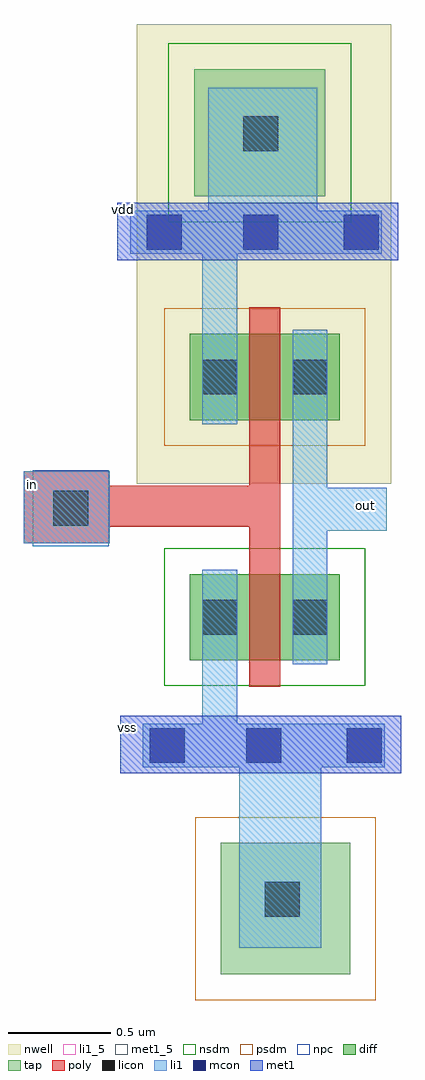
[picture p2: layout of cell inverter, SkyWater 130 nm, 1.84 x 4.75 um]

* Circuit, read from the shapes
.subckt inverter in out vdd vss
XM1 out in vss vss sky130_fd_pr__nfet_01v8 w=0.42 l=0.15
XM2 out in vdd vdd sky130_fd_pr__pfet_01v8 w=0.42 l=0.15
.ends

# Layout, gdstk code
import gdstk
lib = gdstk.Library(unit=1e-6, precision=1e-09)
def R(c, l, rs):  # rectangles x0, y0, x1, y1
    for r in rs: c.add(gdstk.rectangle(r[:2], r[2:], *l))
nwell = (64, 20)
diff = (65, 20)
tap = (65, 44)
poly = (66, 20)
licon = (66, 44)
li1_5 = (67, 5)
li1 = (67, 20)
mcon = (67, 44)
met1_5 = (68, 5)
met1 = (68, 20)
nsdm = (93, 44)
psdm = (94, 20)
npc = (95, 20)

sky130_fd_pr__pfet_01v8_ = lib.new_cell('sky130_fd_pr__pfet_01v8_ykwexw')
R(sky130_fd_pr__pfet_01v8_, nwell, [(-0.545,-0.52,0.545,0.52)])
R(sky130_fd_pr__pfet_01v8_, diff, [(-0.365,-0.21,0.365,0.21)])
R(sky130_fd_pr__pfet_01v8_, poly, [(-0.075,-0.34,0.075,0.34)])
R(sky130_fd_pr__pfet_01v8_, licon, [(-0.305,-0.085,-0.135,0.085), (0.135,-0.085,0.305,0.085)])
R(sky130_fd_pr__pfet_01v8_, li1, [(-0.305,-0.23,-0.135,0.23), (0.135,-0.23,0.305,0.23)])
R(sky130_fd_pr__pfet_01v8_, psdm, [(-0.49,-0.335,0.49,0.335)])

sky130_fd_pr__nfet_01v8_ = lib.new_cell('sky130_fd_pr__nfet_01v8_8mr83b')
R(sky130_fd_pr__nfet_01v8_, diff, [(-0.365,-0.21,0.365,0.21)])
R(sky130_fd_pr__nfet_01v8_, poly, [(-0.075,-0.34,0.075,0.34)])
R(sky130_fd_pr__nfet_01v8_, licon, [(-0.305,-0.085,-0.135,0.085), (0.135,-0.085,0.305,0.085)])
R(sky130_fd_pr__nfet_01v8_, li1, [(-0.305,-0.23,-0.135,0.23), (0.135,-0.23,0.305,0.23)])
R(sky130_fd_pr__nfet_01v8_, nsdm, [(-0.49,-0.335,0.49,0.335)])

inverter = lib.new_cell('inverter')
R(inverter, nwell, [(-0.08,0,1.16,2.24)])
R(inverter, tap, [(0.33,-2.39,0.96,-1.75), (0.2,1.4,0.84,2.02)])
R(inverter, poly, [(0.47,-0.33,0.62,-0.21), (-0.63,-0.29,-0.21,-0.21), (-0.63,-0.21,0.62,-0.01), (-0.63,-0.01,-0.21,0.06), (0.47,-0.01,0.62,0.375)])
R(inverter, licon, [(0.545,-2.11,0.715,-1.94), (-0.485,-0.205,-0.315,-0.035), (0.44,1.62,0.61,1.79)])
R(inverter, li1_5, [(1.02,-0.12,1.05,-0.09), (-0.6,-0.02,-0.57,0.01)])
R(inverter, li1, [(0.42,-2.26,0.82,-1.38), (-0.05,-1.38,1.13,-1.17), (0.24,-1.17,0.41,-0.86), (0.68,-0.46,0.85,-0.23), (-0.63,-0.29,-0.21,0.06), (0.68,-0.23,1.14,-0.02), (0.68,-0.02,0.85,0.32), (0.24,0.67,0.41,1.12), (-0.11,1.12,1.115,1.33), (0.27,1.33,0.8,1.93)])
R(inverter, mcon, [(-0.015,-1.36,0.155,-1.19), (0.455,-1.36,0.625,-1.19), (0.945,-1.36,1.115,-1.19), (-0.03,1.14,0.14,1.31), (0.44,1.14,0.61,1.31), (0.93,1.14,1.1,1.31)])
R(inverter, met1_5, [(-0.14,-1.2,-0.11,-1.17), (-0.16,1.32,-0.13,1.35)])
R(inverter, met1, [(-0.16,-1.41,1.21,-1.13), (-0.175,1.09,1.195,1.37)])
R(inverter, nsdm, [(0.075,1.275,0.965,2.145)])
R(inverter, psdm, [(0.205,-2.515,1.085,-1.625)])
R(inverter, npc, [(-0.585,-0.305,-0.215,0.065)])
inverter.add(gdstk.Reference(sky130_fd_pr__pfet_01v8_, (0.545,0.52)))
inverter.add(gdstk.Reference(sky130_fd_pr__nfet_01v8_, (0.545,-0.65)))
inverter.add(gdstk.Label('in', (-0.585,-0.005), layer=67, texttype=5))
inverter.add(gdstk.Label('out', (1.035,-0.105), layer=67, texttype=5))
inverter.add(gdstk.Label('vdd', (-0.145,1.335), layer=68, texttype=5))
inverter.add(gdstk.Label('vss', (-0.125,-1.185), layer=68, texttype=5))

lib.write_gds('inverter.gds')
